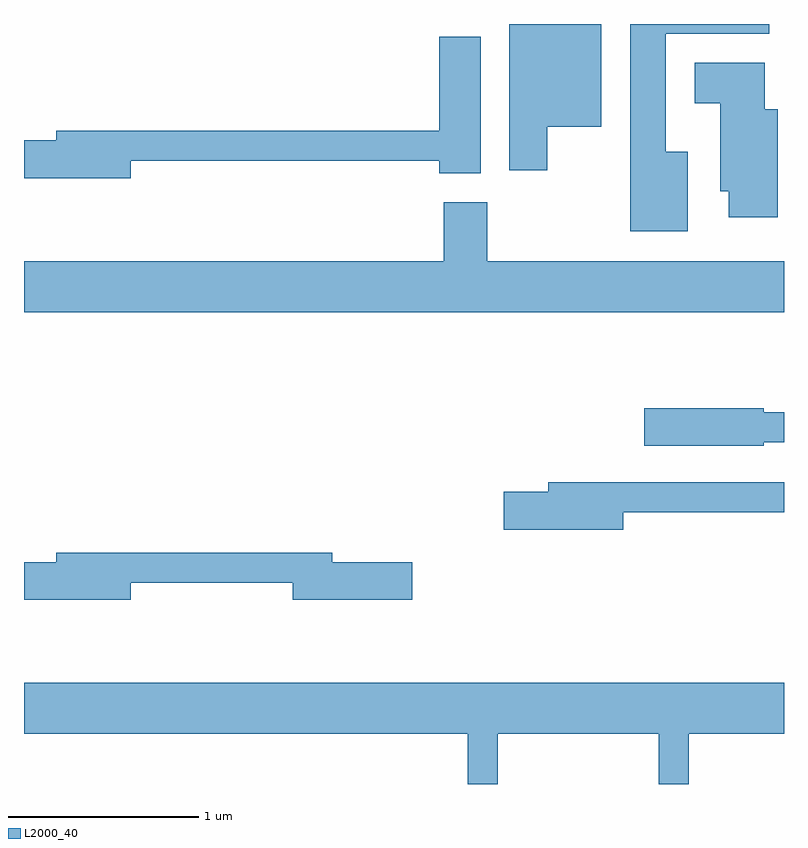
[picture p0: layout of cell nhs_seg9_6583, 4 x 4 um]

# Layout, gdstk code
import gdstk
lib = gdstk.Library(unit=1e-6, precision=1e-09)
def P(c, l, *ps):  # polygons
    for p in ps: c.add(gdstk.Polygon(p, *l))
L2000_40 = (2000, 40)

nhs_seg9_6583 = lib.new_cell('nhs_seg9_6583')
P(nhs_seg9_6583, L2000_40, [(382.364,2003.891),(382.649,2003.891),(382.649,2004.432),(382.166,2004.432),(382.166,2003.661),(382.364,2003.661)],
  [(383.104,2003.759),(382.989,2003.759),(382.989,2004.381),(383.534,2004.381),(383.534,2004.432),(382.801,2004.432),(382.801,2003.341),(383.104,2003.341)],
  [(380.174,2003.711),(381.796,2003.711),(381.796,2003.646),(382.014,2003.646),(382.014,2004.364),(381.796,2004.364),(381.796,2003.869),(379.781,2003.869),(379.781,2003.819),(379.611,2003.819),(379.611,2003.621),(380.174,2003.621)],
  [(383.579,2003.984),(383.509,2003.984),(383.509,2004.229),(383.141,2004.229),(383.141,2004.016),(383.276,2004.016),(383.276,2003.551),(383.321,2003.551),(383.321,2003.416),(383.579,2003.416)],
  [(383.611,2003.184),(382.049,2003.184),(382.049,2003.494),(381.821,2003.494),(381.821,2003.184),(379.611,2003.184),(379.611,2002.916),(383.611,2002.916)],
  [(383.504,2002.231),(383.611,2002.231),(383.611,2002.389),(383.504,2002.389),(383.504,2002.409),(382.876,2002.409),(382.876,2002.211),(383.504,2002.211)],
  [(382.764,2001.861),(383.611,2001.861),(383.611,2002.019),(382.371,2002.019),(382.371,2001.969),(382.136,2001.969),(382.136,2001.771),(382.764,2001.771)],
  [(380.174,2001.491),(381.026,2001.491),(381.026,2001.401),(381.654,2001.401),(381.654,2001.599),(381.234,2001.599),(381.234,2001.649),(379.781,2001.649),(379.781,2001.599),(379.611,2001.599),(379.611,2001.401),(380.174,2001.401)],
  [(382.104,2000.696),(382.951,2000.696),(382.951,2000.432),(383.109,2000.432),(383.109,2000.696),(383.611,2000.696),(383.611,2000.964),(379.611,2000.964),(379.611,2000.696),(381.946,2000.696),(381.946,2000.432),(382.104,2000.432)])

lib.write_gds('nhs_seg9_6583.gds')
